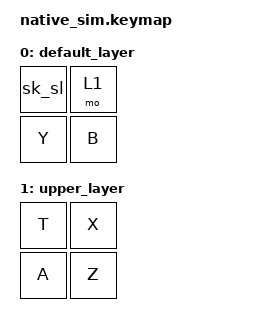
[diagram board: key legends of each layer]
#include <dt-bindings/zmk/keys.h>
#include <behaviors.dtsi>
#include <dt-bindings/zmk/input_mock.h>

/ {
    behaviors {
        ZMK_MACRO(sk_sl, wait-ms = <1>; tap-ms = <1>; bindings = <&sk LEFT_CONTROL &sl 1>;)
    };

    keymap {
        compatible = "zmk,keymap";

        default_layer {
            bindings = <
                &sk_sl &mo 1
                &kp Y &kp B>;
        };

        upper_layer {
            bindings = <
                &kp T  &kp X
                &kp A  &kp Z>;
        };
    };
};

&mock_input {
    events = <
        /* tap sk_sl */
        ZMK_INPUT_MOCK_PRESS(0,0,10)
        ZMK_INPUT_MOCK_RELEASE(0,0,10)
        /* tap A */
        ZMK_INPUT_MOCK_PRESS(1,0,10)
        ZMK_INPUT_MOCK_RELEASE(1,0,10)
    >;
};
